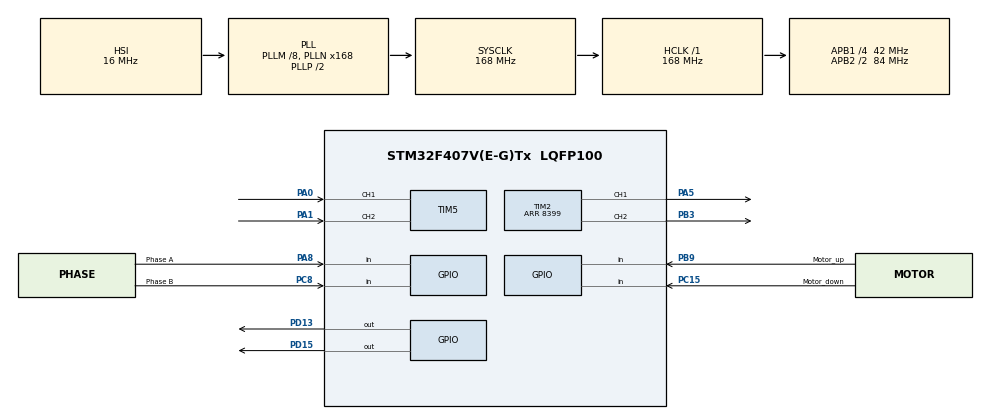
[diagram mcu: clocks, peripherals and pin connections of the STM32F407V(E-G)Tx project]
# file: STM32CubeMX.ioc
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Mcu.Family=STM32F4
Mcu.Name=STM32F407V(E-G)Tx
Mcu.Package=LQFP100
NVIC.PriorityGroup=NVIC_PRIORITYGROUP_4
NVIC.TIM3_IRQn=true\:1\:0\:true\:false\:true\:true\:true\:true
PA0-WKUP.Signal=S_TIM5_CH1
PA1.Signal=S_TIM5_CH2
PA13.Mode=Serial_Wire
PA13.Signal=SYS_JTMS-SWDIO
PA14.Mode=Serial_Wire
PA14.Signal=SYS_JTCK-SWCLK
PA5.Signal=S_TIM2_CH1_ETR
PA8.GPIO_Label=Phase A
PA8.GPIO_PuPd=GPIO_PULLUP
PA8.Signal=GPIO_Input
PB3.Signal=S_TIM2_CH2
PB9.GPIO_Label=Motor_up
PB9.GPIO_PuPd=GPIO_PULLUP
PB9.Signal=GPIO_Input
PC15-OSC32_OUT.GPIO_Label=Motor_down
PC15-OSC32_OUT.GPIO_PuPd=GPIO_PULLUP
PC15-OSC32_OUT.Signal=GPIO_Input
PC8.GPIO_Label=Phase B
PC8.GPIO_PuPd=GPIO_PULLUP
PC8.Signal=GPIO_Input
PD13.Signal=GPIO_Output
PD15.Signal=GPIO_Output
PH0-OSC_IN.Mode=HSE-External-Oscillator
PH0-OSC_IN.Signal=RCC_OSC_IN
PH1-OSC_OUT.Mode=HSE-External-Oscillator
PH1-OSC_OUT.Signal=RCC_OSC_OUT
ProjectManager.HeapSize=0x200
ProjectManager.StackSize=0x400
ProjectManager.TargetToolchain=MDK-ARM V5
RCC.48MHZClocksFreq_Value=84000000
RCC.AHBFreq_Value=168000000
RCC.APB1CLKDivider=RCC_HCLK_DIV4
RCC.APB1Freq_Value=42000000
RCC.APB1TimFreq_Value=84000000
RCC.APB2CLKDivider=RCC_HCLK_DIV2
RCC.APB2Freq_Value=84000000
RCC.APB2TimFreq_Value=168000000
RCC.CortexFreq_Value=168000000
RCC.HCLKFreq_Value=168000000
RCC.HSE_VALUE=25000000
RCC.HSI_VALUE=16000000
RCC.LSE_VALUE=32768
RCC.PLLM=8
RCC.PLLN=168
RCC.SYSCLKFreq_VALUE=168000000
RCC.SYSCLKSource=RCC_SYSCLKSOURCE_PLLCLK
RCC.VCOOutputFreq_Value=336000000
SH.S_TIM2_CH1_ETR.0=TIM2_CH1,PWM Generation1 CH1
SH.S_TIM2_CH2.0=TIM2_CH2,PWM Generation2 CH2
SH.S_TIM5_CH1.0=TIM5_CH1,Encoder_Interface
SH.S_TIM5_CH2.0=TIM5_CH2,Encoder_Interface
TIM2.Channel-PWM\ Generation1\ CH1=TIM_CHANNEL_1
TIM2.Channel-PWM\ Generation2\ CH2=TIM_CHANNEL_2
TIM2.Period=8399
TIM3.Period=4999
TIM3.Prescaler=167
TIM5.EncoderMode=TIM_ENCODERMODE_TI12
VP_TIM2_VS_ClockSourceINT.Mode=Internal
VP_TIM3_VS_ClockSourceINT.Mode=Internal
board=custom

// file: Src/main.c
/* USER CODE BEGIN Header */
/**
  ******************************************************************************
  * @file           : main.c
  * @brief          : Main program body
  ******************************************************************************
  * @attention
  *
  * Copyright (c) 2026 STMicroelectronics.
  * All rights reserved.
  *
  * This software is licensed under terms that can be found in the LICENSE file
  * in the root directory of this software component.
  * If no LICENSE file comes with this software, it is provided AS-IS.
  *
  ******************************************************************************
  */
/* USER CODE END Header */
#include "main.h"

/* USER CODE BEGIN Includes */
#include "stm32f407xx.h"
#include "stm32f4xx_hal.h"
#include "dio.h"
#include "button.h"
#include "motor.h"
#include <stdint.h>
#include "SEGGER_RTT.h"
#include "encoder.h"
#include "stm32f4xx_hal_gpio.h"
#include "stm32f4xx_hal_tim.h"
#include <inttypes.h>
/* USER CODE END Includes */

TIM_HandleTypeDef htim2;
TIM_HandleTypeDef htim3;
TIM_HandleTypeDef htim5;

void SystemClock_Config(void);
static void MX_GPIO_Init(void);
static void MX_TIM2_Init(void);
static void MX_TIM3_Init(void);
static void MX_TIM5_Init(void);

/* USER CODE BEGIN 0 */
uint32_t lastMotorTick = 0;
static void Motor_Control_APPLY()
{
if (HAL_GetTick() - lastMotorTick >= 10)
  {
    lastMotorTick = HAL_GetTick();
    Motor_Update();
  }
	uint8_t up   = Button_IsHeld(BTN_UP);
	uint8_t down = Button_IsHeld(BTN_DOWN);
	if (up && down)
  {
    Motor_Control(MOTOR_STOP, 0);
    Dio_Write(LED_1, DIO_LOW);
    Dio_Write(LED_0, DIO_LOW);
  }
	else if (up)
  {
    Motor_Control(MOTOR_UP, 50);
    Dio_Write(LED_1, DIO_HIGH);
  }
	else if (down)
  {
    Motor_Control(MOTOR_DOWN, 50);
    Dio_Write(LED_0, DIO_HIGH);
  }
	else{
    Motor_Control(MOTOR_STOP, 0);
    Dio_Write(LED_1, DIO_LOW);
    Dio_Write(LED_0, DIO_LOW);
    }
}

encoder_handle_t hencoder_window;
void HAL_TIM_PeriodElapsedCallback(TIM_HandleTypeDef *htim)
{
  if (htim ->Instance ==TIM3)
  {
    Button_Scan();
  }
}
/* USER CODE END 0 */

int main(void)
{

  /* MCU Configuration--------------------------------------------------------*/

  /* Reset of all peripherals, Initializes the Flash interface and the Systick. */
  HAL_Init();

  /* Configure the system clock */
  SystemClock_Config();

  /* Initialize all configured peripherals */
  MX_GPIO_Init();
  MX_TIM2_Init();
  MX_TIM3_Init();
  MX_TIM5_Init();
  /* USER CODE BEGIN 2 */
  HAL_TIM_Base_Start_IT(&htim3);
  HAL_TIM_Encoder_Start(&htim5, TIM_CHANNEL_ALL);
  SEGGER_RTT_Init();
	Motor_Init();
  static uint32_t last_call_10ms = 0;
  /* USER CODE END 2 */

  /* Infinite loop */
  while (1)
  {

    /* USER CODE BEGIN 3 */
	Motor_Control_APPLY();
  if (HAL_GetTick() - last_call_10ms >= 10)
  {
    last_call_10ms = HAL_GetTick(); // Cập nhật thời gian
    encoder_update(&hencoder_window, &htim5);
    ENC_angle(&hencoder_window);
    positon_mm(&hencoder_window);
    speed_mm_s(&hencoder_window);

    int pinA = HAL_GPIO_ReadPin(GPIOA, GPIO_PIN_0);
    int pinB = HAL_GPIO_ReadPin(GPIOA, GPIO_PIN_1);

    float ang = hencoder_window.angle_deg; // goc quay
    int32_t ang_int = (int32_t)ang;
    int32_t ang_dec = (int32_t)((ang - ang_int) * 100);
    if (ang_dec < 0) ang_dec = -ang_dec;

    float rev = hencoder_window.total_revolutions; // so vong quay
    int32_t rev_int = (int32_t)rev;
    int32_t rev_dec = (int32_t)((rev - rev_int) * 100);
    if (rev_dec < 0) rev_dec = -rev_dec;

    float pos = hencoder_window.position_mm; // pos - vi tri
    int32_t pos_int = (int32_t)pos;
    int32_t pos_dec = (int32_t)((pos - pos_int) * 100);
    if (pos_dec < 0) pos_dec = -pos_dec;

    float spd = hencoder_window.speed_mm_s; // speed
    int32_t spd_int = (int32_t)spd;
    int32_t spd_dec = (int32_t)((spd - spd_int) * 100);
    if (spd_dec < 0) spd_dec = -spd_dec;

    float acc = hencoder_window.accel_filtered;
    int32_t acc_int = (int32_t)acc;
    int32_t acc_dec = (int32_t)((acc - acc_int) * 100);
    if (acc_dec < 0) acc_dec = -acc_dec;

    SEGGER_RTT_printf(0, "--------------------\n");

char buf[128];
int n = snprintf(buf, sizeof(buf),
  "HW | A:%d | B:%d | Pulse:%" PRId64 " | Dir:%d |\n",
  (int)pinA, (int)pinB,
  (int64_t)hencoder_window.pulse_count,
  (int)hencoder_window.direction
);
SEGGER_RTT_Write(0, buf, (unsigned)n);
SEGGER_RTT_printf(0, "Ang:%d.%02d | Rev:%d.%02d | Pos:%d.%02d | Spd:%d.%02d | Acc:%d.%02d | \n",
                  ang_int, ang_dec,
                  rev_int, rev_dec,
                  pos_int, pos_dec,
                  spd_int, spd_dec,
                  acc_int, acc_dec);
}
}
  /* USER CODE END 3 */
}

void SystemClock_Config(void)
{
  RCC_OscInitTypeDef RCC_OscInitStruct = {0};
  RCC_ClkInitTypeDef RCC_ClkInitStruct = {0};

  /** Configure the main internal regulator output voltage
  */
  __HAL_RCC_PWR_CLK_ENABLE();
  __HAL_PWR_VOLTAGESCALING_CONFIG(PWR_REGULATOR_VOLTAGE_SCALE1);

  /** Initializes the RCC Oscillators according to the specified parameters
  * in the RCC_OscInitTypeDef structure.
  */
  RCC_OscInitStruct.OscillatorType = RCC_OSCILLATORTYPE_HSI;
  RCC_OscInitStruct.HSIState = RCC_HSI_ON;
  RCC_OscInitStruct.HSICalibrationValue = RCC_HSICALIBRATION_DEFAULT;
  RCC_OscInitStruct.PLL.PLLState = RCC_PLL_ON;
  RCC_OscInitStruct.PLL.PLLSource = RCC_PLLSOURCE_HSI;
  RCC_OscInitStruct.PLL.PLLM = 8;
  RCC_OscInitStruct.PLL.PLLN = 168;
  RCC_OscInitStruct.PLL.PLLP = RCC_PLLP_DIV2;
  RCC_OscInitStruct.PLL.PLLQ = 4;
  if (HAL_RCC_OscConfig(&RCC_OscInitStruct) != HAL_OK)
  {
    Error_Handler();
  }

  /** Initializes the CPU, AHB and APB buses clocks
  */
  RCC_ClkInitStruct.ClockType = RCC_CLOCKTYPE_HCLK|RCC_CLOCKTYPE_SYSCLK
                              |RCC_CLOCKTYPE_PCLK1|RCC_CLOCKTYPE_PCLK2;
  RCC_ClkInitStruct.SYSCLKSource = RCC_SYSCLKSOURCE_PLLCLK;
  RCC_ClkInitStruct.AHBCLKDivider = RCC_SYSCLK_DIV1;
  RCC_ClkInitStruct.APB1CLKDivider = RCC_HCLK_DIV4;
  RCC_ClkInitStruct.APB2CLKDivider = RCC_HCLK_DIV2;

  if (HAL_RCC_ClockConfig(&RCC_ClkInitStruct, FLASH_LATENCY_5) != HAL_OK)
  {
    Error_Handler();
  }
}

static void MX_TIM2_Init(void)
{

  TIM_ClockConfigTypeDef sClockSourceConfig = {0};
  TIM_MasterConfigTypeDef sMasterConfig = {0};
  TIM_OC_InitTypeDef sConfigOC = {0};

  htim2.Instance = TIM2;
  htim2.Init.Prescaler = 0;
  htim2.Init.CounterMode = TIM_COUNTERMODE_UP;
  htim2.Init.Period = 8399;
  htim2.Init.ClockDivision = TIM_CLOCKDIVISION_DIV1;
  htim2.Init.AutoReloadPreload = TIM_AUTORELOAD_PRELOAD_DISABLE;
  if (HAL_TIM_Base_Init(&htim2) != HAL_OK)
  {
    Error_Handler();
  }
  sClockSourceConfig.ClockSource = TIM_CLOCKSOURCE_INTERNAL;
  if (HAL_TIM_ConfigClockSource(&htim2, &sClockSourceConfig) != HAL_OK)
  {
    Error_Handler();
  }
  if (HAL_TIM_PWM_Init(&htim2) != HAL_OK)
  {
    Error_Handler();
  }
  sMasterConfig.MasterOutputTrigger = TIM_TRGO_RESET;
  sMasterConfig.MasterSlaveMode = TIM_MASTERSLAVEMODE_DISABLE;
  if (HAL_TIMEx_MasterConfigSynchronization(&htim2, &sMasterConfig) != HAL_OK)
  {
    Error_Handler();
  }
  sConfigOC.OCMode = TIM_OCMODE_PWM1;
  sConfigOC.Pulse = 0;
  sConfigOC.OCPolarity = TIM_OCPOLARITY_HIGH;
  sConfigOC.OCFastMode = TIM_OCFAST_DISABLE;
  if (HAL_TIM_PWM_ConfigChannel(&htim2, &sConfigOC, TIM_CHANNEL_1) != HAL_OK)
  {
    Error_Handler();
  }
  if (HAL_TIM_PWM_ConfigChannel(&htim2, &sConfigOC, TIM_CHANNEL_2) != HAL_OK)
  {
    Error_Handler();
  }
  HAL_TIM_MspPostInit(&htim2);

}

static void MX_TIM3_Init(void)
{

  TIM_ClockConfigTypeDef sClockSourceConfig = {0};
  TIM_MasterConfigTypeDef sMasterConfig = {0};

  htim3.Instance = TIM3;
  htim3.Init.Prescaler = 167;
  htim3.Init.CounterMode = TIM_COUNTERMODE_UP;
  htim3.Init.Period = 4999;
  htim3.Init.ClockDivision = TIM_CLOCKDIVISION_DIV1;
  htim3.Init.AutoReloadPreload = TIM_AUTORELOAD_PRELOAD_DISABLE;
  if (HAL_TIM_Base_Init(&htim3) != HAL_OK)
  {
    Error_Handler();
  }
  sClockSourceConfig.ClockSource = TIM_CLOCKSOURCE_INTERNAL;
  if (HAL_TIM_ConfigClockSource(&htim3, &sClockSourceConfig) != HAL_OK)
  {
    Error_Handler();
  }
  sMasterConfig.MasterOutputTrigger = TIM_TRGO_RESET;
  sMasterConfig.MasterSlaveMode = TIM_MASTERSLAVEMODE_DISABLE;
  if (HAL_TIMEx_MasterConfigSynchronization(&htim3, &sMasterConfig) != HAL_OK)
  {
    Error_Handler();
  }

}

static void MX_TIM5_Init(void)
{

  TIM_Encoder_InitTypeDef sConfig = {0};
  TIM_MasterConfigTypeDef sMasterConfig = {0};

  htim5.Instance = TIM5;
  htim5.Init.Prescaler = 0;
  htim5.Init.CounterMode = TIM_COUNTERMODE_UP;
  htim5.Init.Period = 4294967295;
  htim5.Init.ClockDivision = TIM_CLOCKDIVISION_DIV1;
  htim5.Init.AutoReloadPreload = TIM_AUTORELOAD_PRELOAD_DISABLE;
  sConfig.EncoderMode = TIM_ENCODERMODE_TI12;
  sConfig.IC1Polarity = TIM_ICPOLARITY_RISING;
  sConfig.IC1Selection = TIM_ICSELECTION_DIRECTTI;
  sConfig.IC1Prescaler = TIM_ICPSC_DIV1;
  sConfig.IC1Filter = 0;
  sConfig.IC2Polarity = TIM_ICPOLARITY_RISING;
  sConfig.IC2Selection = TIM_ICSELECTION_DIRECTTI;
  sConfig.IC2Prescaler = TIM_ICPSC_DIV1;
  sConfig.IC2Filter = 0;
  if (HAL_TIM_Encoder_Init(&htim5, &sConfig) != HAL_OK)
  {
    Error_Handler();
  }
  sMasterConfig.MasterOutputTrigger = TIM_TRGO_RESET;
  sMasterConfig.MasterSlaveMode = TIM_MASTERSLAVEMODE_DISABLE;
  if (HAL_TIMEx_MasterConfigSynchronization(&htim5, &sMasterConfig) != HAL_OK)
  {
    Error_Handler();
  }

}

static void MX_GPIO_Init(void)
{
  GPIO_InitTypeDef GPIO_InitStruct = {0};

  /* GPIO Ports Clock Enable */
  __HAL_RCC_GPIOC_CLK_ENABLE();
  __HAL_RCC_GPIOH_CLK_ENABLE();
  __HAL_RCC_GPIOA_CLK_ENABLE();
  __HAL_RCC_GPIOD_CLK_ENABLE();
  __HAL_RCC_GPIOB_CLK_ENABLE();

  /*Configure GPIO pin Output Level */
  HAL_GPIO_WritePin(GPIOD, GPIO_PIN_13|GPIO_PIN_15, GPIO_PIN_RESET);

  /*Configure GPIO pins : Motor_down_Pin Phase_B_Pin */
  GPIO_InitStruct.Pin = Motor_down_Pin|Phase_B_Pin;
  GPIO_InitStruct.Mode = GPIO_MODE_INPUT;
  GPIO_InitStruct.Pull = GPIO_PULLUP;
  HAL_GPIO_Init(GPIOC, &GPIO_InitStruct);

  /*Configure GPIO pins : PD13 PD15 */
  GPIO_InitStruct.Pin = GPIO_PIN_13|GPIO_PIN_15;
  GPIO_InitStruct.Mode = GPIO_MODE_OUTPUT_PP;
  GPIO_InitStruct.Pull = GPIO_NOPULL;
  GPIO_InitStruct.Speed = GPIO_SPEED_FREQ_LOW;
  HAL_GPIO_Init(GPIOD, &GPIO_InitStruct);

  /*Configure GPIO pin : Phase_A_Pin */
  GPIO_InitStruct.Pin = Phase_A_Pin;
  GPIO_InitStruct.Mode = GPIO_MODE_INPUT;
  GPIO_InitStruct.Pull = GPIO_PULLUP;
  HAL_GPIO_Init(Phase_A_GPIO_Port, &GPIO_InitStruct);

  /*Configure GPIO pin : Motor_up_Pin */
  GPIO_InitStruct.Pin = Motor_up_Pin;
  GPIO_InitStruct.Mode = GPIO_MODE_INPUT;
  GPIO_InitStruct.Pull = GPIO_PULLUP;
  HAL_GPIO_Init(Motor_up_GPIO_Port, &GPIO_InitStruct);

}

void Error_Handler(void)
{
  __disable_irq();
  while (1)
  {
  }
}
